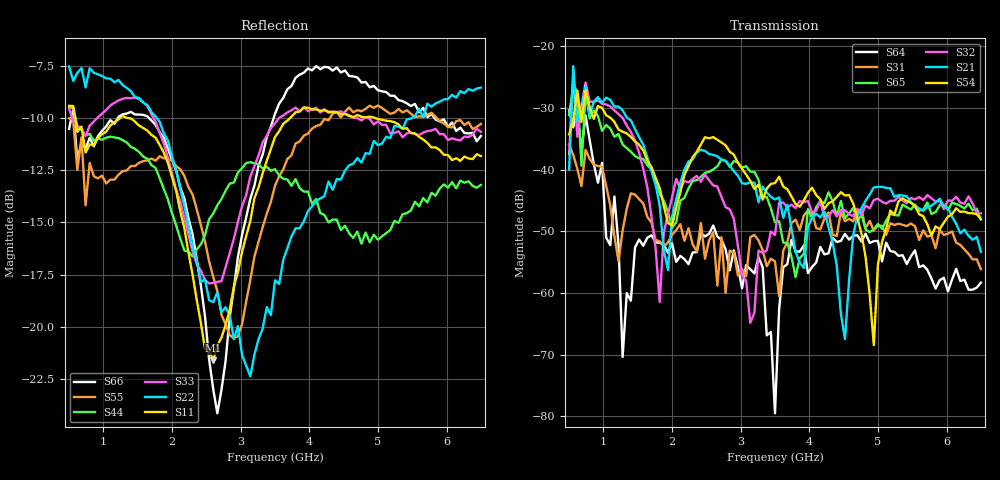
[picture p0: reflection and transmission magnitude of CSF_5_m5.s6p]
!Keysight Technologies,M9804A,MY58100912,A.14.10.03
!Date: Thursday, April 27, 2023 10:28:33
!Correction: S11(C  6-Port  )
!S12(C  6-Port  )
!S13(C  6-Port  )
!S14(C  6-Port  )
!S15(C  6-Port  )
!S16(C  6-Port  )
!S21(C  6-Port  )
!S22(C  6-Port  )
!S23(C  6-Port  )
!S24(C  6-Port  )
!S25(C  6-Port  )
!S26(C  6-Port  )
!S31(C  6-Port  )
!S32(C  6-Port  )
!S33(C  6-Port  )
!S34(C  6-Port  )
!S35(C  6-Port  )
!S36(C  6-Port  )
!S41(C  6-Port  )
!S42(C  6-Port  )
!S43(C  6-Port  )
!S44(C  6-Port  )
!S45(C  6-Port  )
!S46(C  6-Port  )
!S51(C  6-Port  )
!S52(C  6-Port  )
!S53(C  6-Port  )
!S54(C  6-Port  )
!S55(C  6-Port  )
!S56(C  6-Port  )
!S61(C  6-Port  )
!S62(C  6-Port  )
!S63(C  6-Port  )
!S64(C  6-Port  )
!S65(C  6-Port  )
!S66(C  6-Port  )
!S6P File: Measurement: :
# Hz S  RI  R 50
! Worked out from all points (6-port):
!   101 points, 500 MHz to 6.5 GHz, reference 50 ohm
!   strongest paths, dB at 500 MHz, 2 GHz, 3.5 GHz, 5 GHz, 6.5 GHz:
!     S54: -34.3, -49.1, -42.2, -55.4, -48.0
!     S21: -40.0, -47.6, -44.9, -42.8, -53.3
!     S32: -37.5, -44.5, -50.6, -44.7, -47.1
!     S65: -31.2, -49.5, -48.5, -48.8, -48.1
!     S31: -36.0, -50.5, -54.9, -49.0, -56.1
!     S64: -30.4, -52.0, -79.5, -51.6, -58.3
!   lowest |S11| = -21.6 dB at 2.6 GHz (marker M1), VSWR 1.18, Z = 42.6 + j2.02 ohm
!   |S11| at or under -10 dB: 588.5 MHz to 1.238 GHz (649.3 MHz wide, 71.1 % of centre); 1.387 GHz to 3.715 GHz (2.328 GHz wide, 91.3 % of centre); 4.97 GHz to end of sweep
